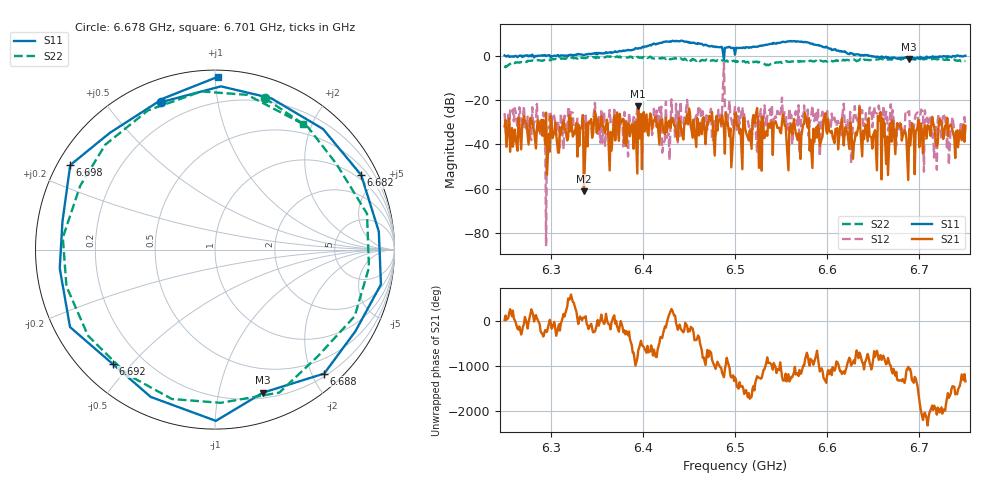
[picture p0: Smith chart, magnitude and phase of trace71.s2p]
# Hz S RI R 50
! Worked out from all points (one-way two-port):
!   401 points, 6.25 GHz to 6.75 GHz, reference 50 ohm
!   highest |S21| = -22.78 dB at 6.395 GHz (marker M1); lowest = -61.3 dB at 6.336 GHz (marker M2)
!   lowest |S11| = -1.5 dB at 6.689 GHz (marker M3), VSWR 11.54, Z = 12.5 - j68 ohm
!   |S11| at or under -10 dB: nowhere
!   |S22| runs from -5.4 to -0.1 dB; largest |S21 - S12| = 0.73
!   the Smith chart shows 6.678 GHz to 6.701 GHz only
!   S11 on the Smith chart (normalised r, x): 6.678 GHz: 0.10, +0.69; 6.682 GHz: 0.80, +4.02; 6.688 GHz: 0.24, -2.19; 6.692 GHz: 0.09, -0.44; 6.698 GHz: 0.04, +0.27; 6.701 GHz: 0.04, +1.02
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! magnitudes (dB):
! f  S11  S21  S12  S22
! 6.25 GHz  0.3  -31.8  -25.8  -5.4
! 6.282 GHz  -0.6  -33.7  -29.7  -2.1
! 6.295 GHz  0.0  -25.6  -86.0  -1.6
! 6.301 GHz  0.0  -30.4  -31.2  -1.5
! 6.334 GHz  0.7  -31.4  -29.6  -0.8
! 6.336 GHz  0.4  -61.3  -38.2  -0.9
! 6.395 GHz  3.4  -22.8  -33.0  -0.4
! 6.418 GHz  5.9  -40.1  -23.2  -1.0
! 6.5 GHz  0.6  -26.4  -23.1  -2.6
! 6.578 GHz  6.2  -30.5  -28.0  -2.6
! 6.584 GHz  5.7  -50.6  -22.4  -2.4
! 6.599 GHz  4.3  -33.6  -28.4  -2.4
! 6.668 GHz  -1.0  -32.8  -28.9  -1.5
! 6.678 GHz  -1.2  -31.9  -33.2  -1.0
! 6.682 GHz  -0.8  -36.0  -36.5  -1.3
! 6.688 GHz  -0.7  -56.1  -25.7  -1.4
! 6.689 GHz  -1.5  -33.1  -24.9  -1.2
! 6.692 GHz  -1.4  -30.4  -34.7  -1.4
! 6.698 GHz  -0.6  -32.4  -25.5  -1.3
! 6.701 GHz  -0.3  -32.2  -27.2  -1.4
! 6.716 GHz  -0.6  -31.7  -45.9  -1.2
! 6.75 GHz  0.1  -31.5  -33.8  -2.2
